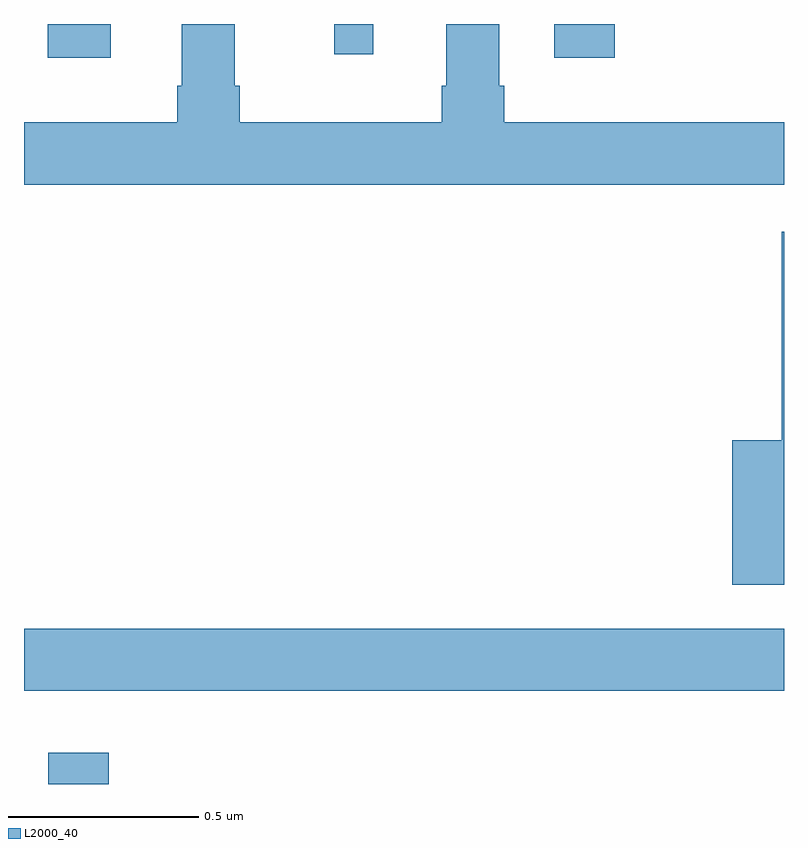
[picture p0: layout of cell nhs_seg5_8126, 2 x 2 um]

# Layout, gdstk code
import gdstk
lib = gdstk.Library(unit=1e-6, precision=1e-09)
def R(c, l, rs):  # rectangles x0, y0, x1, y1
    for r in rs: c.add(gdstk.rectangle(r[:2], r[2:], *l))
def P(c, l, *ps):  # polygons
    for p in ps: c.add(gdstk.Polygon(p, *l))
L2000_40 = (2000, 40)

nhs_seg5_8126 = lib.new_cell('nhs_seg5_8126')
R(nhs_seg5_8126, L2000_40, [(217.064,905.799,217.223,905.881), (217,906.044,219,906.208), (217.063,907.71,217.228,907.799), (218.396,907.71,218.555,907.799), (217.816,907.719,217.919,907.799)])
P(nhs_seg5_8126, L2000_40, [(219,907.54),(218.264,907.54),(218.264,907.636),(218.251,907.636),(218.251,907.799),(218.111,907.799),(218.111,907.636),(218.099,907.636),(218.099,907.54),(217.568,907.54),(217.568,907.636),(217.555,907.636),(217.555,907.799),(217.415,907.799),(217.415,907.636),(217.403,907.636),(217.403,907.54),(217,907.54),(217,907.376),(219,907.376)],
  [(219,907.252),(218.994,907.252),(218.994,906.703),(218.864,906.703),(218.864,906.323),(219,906.323)])

lib.write_gds('nhs_seg5_8126.gds')
